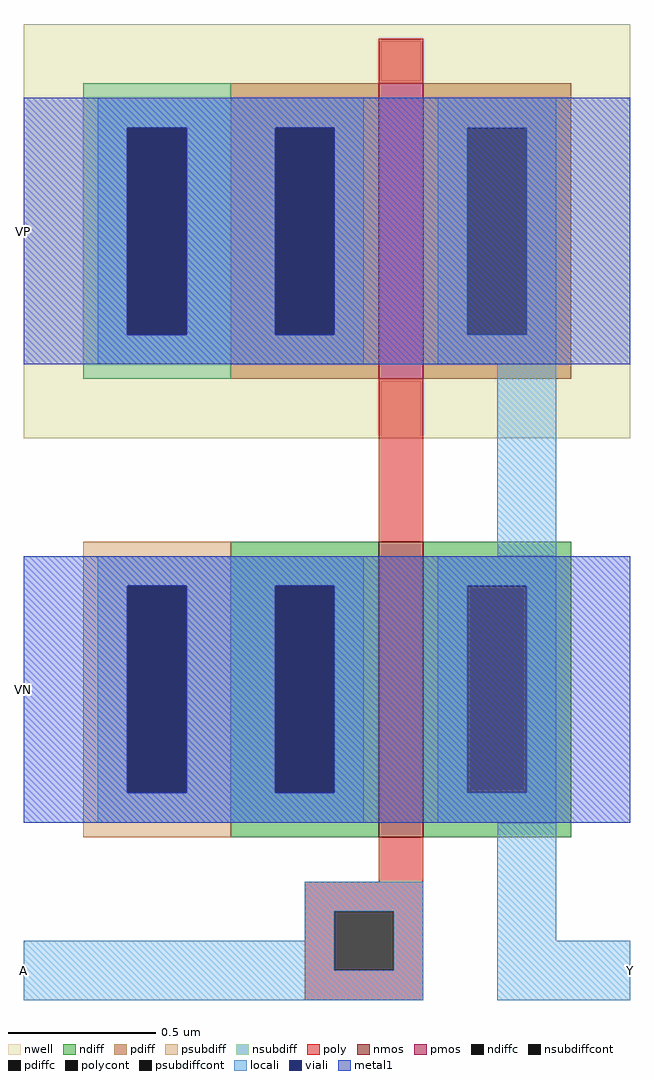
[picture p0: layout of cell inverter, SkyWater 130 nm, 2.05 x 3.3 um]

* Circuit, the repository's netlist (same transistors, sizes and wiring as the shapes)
* NGSPICE file created from inverter.ext - technology: sky130A

.subckt inverter VP A Y VN
X0 Y A VN VN sky130_fd_pr__nfet_01v8 ad=0.5 pd=3 as=0.5 ps=3 w=1 l=0.15
X1 Y A VP VP sky130_fd_pr__pfet_01v8 ad=0.5 pd=3 as=0.5 ps=3 w=1 l=0.15
.ends

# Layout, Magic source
magic
tech sky130A
<< nwell >>
rect -195 195 10 335
<< nmos >>
rect -75 60 -60 160
<< pmos >>
rect -75 215 -60 315
<< ndiff >>
rect -125 145 -75 160
rect -125 75 -110 145
rect -90 75 -75 145
rect -125 60 -75 75
rect -60 145 -10 160
rect -60 75 -45 145
rect -25 75 -10 145
rect -60 60 -10 75
<< pdiff >>
rect -125 300 -75 315
rect -125 230 -110 300
rect -90 230 -75 300
rect -125 215 -75 230
rect -60 300 -10 315
rect -60 230 -45 300
rect -25 230 -10 300
rect -60 215 -10 230
<< ndiffc >>
rect -110 75 -90 145
rect -45 75 -25 145
<< pdiffc >>
rect -110 230 -90 300
rect -45 230 -25 300
<< psubdiff >>
rect -175 145 -125 160
rect -175 75 -160 145
rect -140 75 -125 145
rect -175 60 -125 75
<< nsubdiff >>
rect -175 300 -125 315
rect -175 230 -160 300
rect -140 230 -125 300
rect -175 215 -125 230
<< psubdiffcont >>
rect -160 75 -140 145
<< nsubdiffcont >>
rect -160 230 -140 300
<< poly >>
rect -75 315 -60 330
rect -75 160 -60 215
rect -75 45 -60 60
rect -100 35 -60 45
rect -100 15 -90 35
rect -70 15 -60 35
rect -100 5 -60 15
<< polycont >>
rect -90 15 -70 35
<< locali >>
rect -170 300 -80 310
rect -170 230 -160 300
rect -140 230 -110 300
rect -90 230 -80 300
rect -170 220 -80 230
rect -55 300 -15 310
rect -55 230 -45 300
rect -25 230 -15 300
rect -55 220 -15 230
rect -35 155 -15 220
rect -170 145 -80 155
rect -170 75 -160 145
rect -140 75 -110 145
rect -90 75 -80 145
rect -170 65 -80 75
rect -55 145 -15 155
rect -55 75 -45 145
rect -25 75 -15 145
rect -55 65 -15 75
rect -100 35 -60 45
rect -100 25 -90 35
rect -195 15 -90 25
rect -70 15 -60 35
rect -195 5 -60 15
rect -35 25 -15 65
rect -35 5 10 25
<< viali >>
rect -160 230 -140 300
rect -110 230 -90 300
rect -160 75 -140 145
rect -110 75 -90 145
<< metal1 >>
rect -195 300 10 310
rect -195 230 -160 300
rect -140 230 -110 300
rect -90 230 10 300
rect -195 220 10 230
rect -195 145 10 155
rect -195 75 -160 145
rect -140 75 -110 145
rect -90 75 10 145
rect -195 65 10 75
<< labels >>
rlabel locali -195 15 -195 15 7 A
port 2 w
rlabel locali 10 15 10 15 3 Y
port 3 e
rlabel metal1 -195 265 -195 265 7 VP
port 1 w
rlabel metal1 -195 110 -195 110 7 VN
port 4 w
<< end >>
